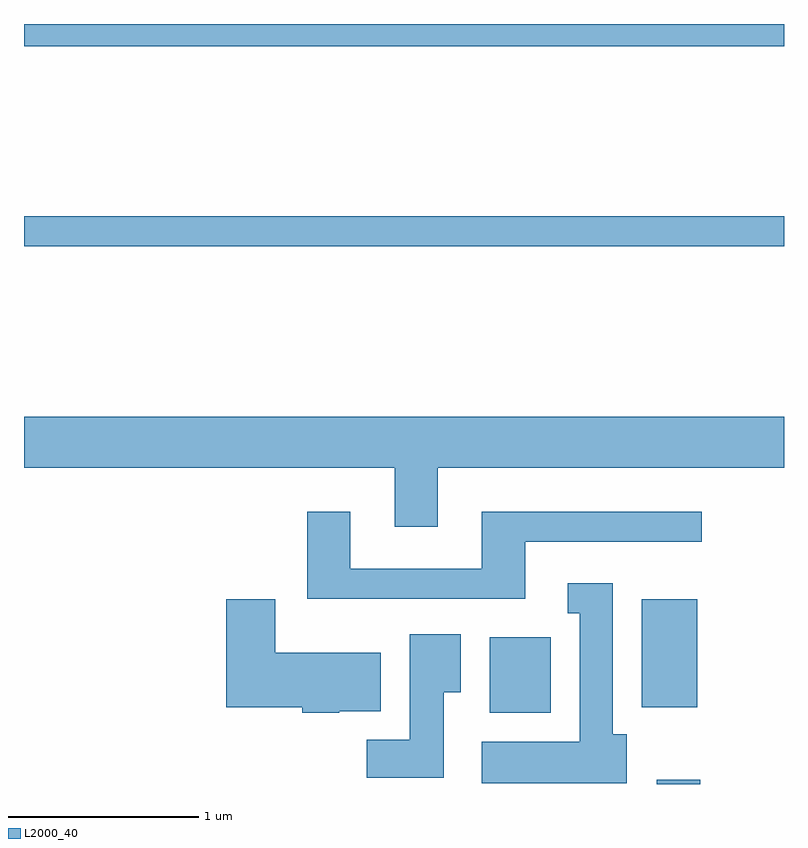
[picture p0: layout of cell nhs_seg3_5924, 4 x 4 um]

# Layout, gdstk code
import gdstk
lib = gdstk.Library(unit=1e-6, precision=1e-09)
def R(c, l, rs):  # rectangles x0, y0, x1, y1
    for r in rs: c.add(gdstk.rectangle(r[:2], r[2:], *l))
def P(c, l, *ps):  # polygons
    for p in ps: c.add(gdstk.Polygon(p, *l))
L2000_40 = (2000, 40)

nhs_seg3_5924 = lib.new_cell('nhs_seg3_5924')
R(nhs_seg3_5924, L2000_40, [(362.941,1139.892,363.169,1139.914), (362.061,1140.266,362.384,1140.664), (362.861,1140.296,363.154,1140.864), (359.611,1142.721,363.611,1142.879), (359.611,1143.776,363.611,1143.892)])
P(nhs_seg3_5924, L2000_40, [(361.789,1141.556),(363.611,1141.556),(363.611,1141.824),(359.611,1141.824),(359.611,1141.556),(361.561,1141.556),(361.561,1141.246),(361.789,1141.246)],
  [(362.249,1141.166),(363.178,1141.166),(363.178,1141.324),(362.021,1141.324),(362.021,1141.024),(361.329,1141.024),(361.329,1141.324),(361.101,1141.324),(361.101,1140.866),(362.249,1140.866)],
  [(362.784,1140.154),(362.709,1140.154),(362.709,1140.949),(362.473,1140.949),(362.473,1140.791),(362.536,1140.791),(362.536,1140.114),(362.021,1140.114),(362.021,1139.896),(362.784,1139.896)],
  [(361.27,1140.276),(361.489,1140.276),(361.489,1140.584),(360.934,1140.584),(360.934,1140.864),(360.676,1140.864),(360.676,1140.296),(361.076,1140.296),(361.076,1140.266),(361.27,1140.266)],
  [(361.819,1140.376),(361.909,1140.376),(361.909,1140.679),(361.641,1140.679),(361.641,1140.124),(361.416,1140.124),(361.416,1139.926),(361.819,1139.926)])

lib.write_gds('nhs_seg3_5924.gds')
